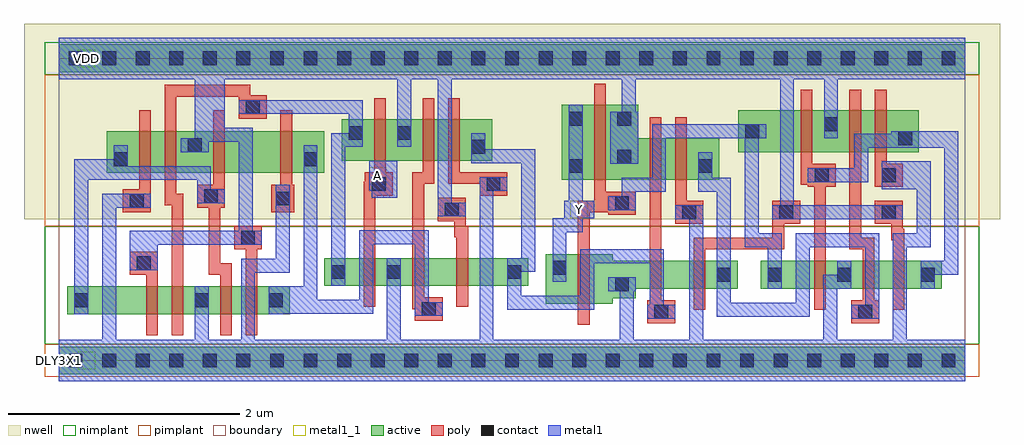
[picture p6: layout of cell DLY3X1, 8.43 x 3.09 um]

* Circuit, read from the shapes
.subckt DLY3X1 A VDD VSS Y
M1 n1 VDD n2 VSS nfet w=0.24u l=0.1u
M2 VSS n3 n1 VSS nfet w=0.24u l=0.1u
M3 n4 n2 VSS VSS nfet w=0.24u l=0.1u
M4 n5 VDD n4 VSS nfet w=0.24u l=0.1u
M5 VSS A n3 VSS nfet w=0.24u l=0.1u
M6 n6 n5 VSS VSS nfet w=0.24u l=0.1u
M7 n7 VDD n6 VSS nfet w=0.24u l=0.1u
M8 VSS n8 Y VSS nfet w=0.43u l=0.1u
M9 n9 n7 VSS VSS nfet w=0.24u l=0.1u
M10 n10 VDD n9 VSS nfet w=0.24u l=0.1u
M11 VSS n11 n8 VSS nfet w=0.24u l=0.1u
M12 n12 n10 VSS VSS nfet w=0.24u l=0.1u
M13 n11 VDD n12 VSS nfet w=0.24u l=0.1u
M14 n13 VSS n2 VDD pfet w=0.36u l=0.1u
M15 VDD n3 n13 VDD pfet w=0.36u l=0.1u
M16 n14 n2 VDD VDD pfet w=0.36u l=0.1u
M17 n5 VSS n14 VDD pfet w=0.36u l=0.1u
M18 VDD A n3 VDD pfet w=0.36u l=0.1u
M19 n15 n5 VDD VDD pfet w=0.36u l=0.1u
M20 n7 VSS n15 VDD pfet w=0.36u l=0.1u
M21 VDD n8 Y VDD pfet w=0.65u l=0.1u
M22 n16 n7 VDD VDD pfet w=0.36u l=0.1u
M23 n10 VSS n16 VDD pfet w=0.36u l=0.1u
M24 VDD n11 n8 VDD pfet w=0.36u l=0.1u
M25 n17 n10 VDD VDD pfet w=0.36u l=0.1u
M26 n11 VSS n17 VDD pfet w=0.36u l=0.1u
.ends

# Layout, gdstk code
import gdstk
lib = gdstk.Library(unit=1e-6, precision=5e-10)
def R(c, l, rs):  # rectangles x0, y0, x1, y1
    for r in rs: c.add(gdstk.rectangle(r[:2], r[2:], *l))
def A(c, l, x, y, w, h, nx, ny, dx, dy):  # array of equal rectangles
    R(c, l, [(x+i*dx, y+j*dy, x+i*dx+w, y+j*dy+h) for i in range(nx) for j in range(ny)])
active = (1, 0)
nwell = (2, 0)
poly = (3, 0)
nimplant = (4, 0)
pimplant = (5, 0)
contact = (6, 0)
metal1 = (7, 0)
metal1_1 = (7, 1)
boundary = (62, 0)

dly3x1 = lib.new_cell('DLY3X1')
R(dly3x1, active, [(0,-0.12,7.83,0.12), (0.075,0.4,1.995,0.64), (4.205,0.49,4.785,0.54), (4.205,0.54,4.985,0.62), (4.205,0.62,5.865,0.86), (6.065,0.62,7.625,0.86), (2.295,0.645,4.055,0.885), (4.205,0.86,4.785,0.92), (4.345,1.56,5.705,1.92), (0.415,1.62,2.295,1.98), (2.445,1.725,3.745,2.085), (5.87,1.8,7.43,2.16), (4.345,1.92,5.005,2.21), (0,2.49,7.83,2.73)])
R(dly3x1, nwell, [(-0.3,1.22,8.13,2.91)])
R(dly3x1, poly, [(0.755,0.22,0.855,0.74), (0.975,0.22,1.075,1.34), (1.395,0.22,1.495,0.74), (1.615,0.22,1.715,0.96), (4.485,0.31,4.585,1.28), (5.085,0.32,5.325,0.52), (6.845,0.32,7.085,0.52), (3.075,0.345,3.315,0.445), (5.485,0.44,5.585,0.96), (6.525,0.44,6.625,1.5), (7.205,0.44,7.305,1.04), (3.055,0.445,3.315,0.545), (2.635,0.465,2.735,1.425), (3.435,0.465,3.535,1.065), (5.105,0.52,5.205,2.1), (6.945,0.52,7.045,0.96), (3.055,0.545,3.155,1.525), (0.615,0.74,0.855,0.94), (1.295,0.74,1.495,0.84), (1.295,0.84,1.395,1.32), (1.515,0.96,1.755,1.16), (5.485,0.96,6.265,1.06), (6.83,0.96,7.045,1.06), (7.19,1.04,7.305,1.14), (6.165,1.06,6.265,1.18), (6.83,1.06,6.93,2.34), (3.415,1.065,3.535,1.165), (7.19,1.14,7.29,1.18), (3.415,1.165,3.515,1.205), (5.325,1.18,5.565,1.38), (6.165,1.18,6.405,1.38), (7.05,1.18,7.29,1.38), (3.275,1.205,3.515,1.405), (4.745,1.26,4.985,1.28), (0.555,1.28,0.795,1.48), (1.835,1.28,2.035,1.52), (4.485,1.28,4.985,1.38), (1.195,1.32,1.435,1.52), (0.915,1.34,1.075,1.44), (4.625,1.38,4.985,1.46), (5.325,1.38,5.425,2.1), (2.635,1.425,2.885,1.545), (3.635,1.425,3.875,1.525), (0.915,1.44,1.015,2.28), (4.625,1.46,4.725,2.39), (0.695,1.48,0.795,2.16), (6.47,1.5,6.71,1.52), (7.05,1.5,7.29,1.7), (1.335,1.52,1.435,2.16), (1.915,1.52,2.015,2.16), (6.41,1.52,6.71,1.7), (3.055,1.525,3.245,1.625), (3.365,1.525,3.875,1.625), (2.645,1.545,2.885,1.625), (2.725,1.625,2.825,2.265), (3.145,1.625,3.245,2.265), (3.365,1.625,3.465,2.265), (6.41,1.7,6.51,2.34), (7.05,1.7,7.15,2.34), (1.555,2.09,1.795,2.28), (0.915,2.28,1.795,2.29), (0.915,2.29,1.655,2.38)])
R(dly3x1, nimplant, [(-0.12,0.14,7.95,1.16), (-0.12,2.47,7.95,2.75)])
R(dly3x1, pimplant, [(-0.12,-0.14,7.95,0.14), (-0.12,1.16,7.95,2.47)])
A(dly3x1, contact, 0.085, -0.06, 0.12, 0.12, 27, 2, 0.29, 2.61)
R(dly3x1, contact, [(5.145,0.36,5.265,0.48), (6.905,0.36,7.025,0.48), (3.135,0.385,3.255,0.505), (0.135,0.46,0.255,0.58), (1.175,0.46,1.295,0.58), (1.815,0.46,1.935,0.58), (4.805,0.6,4.925,0.72), (5.685,0.68,5.805,0.8), (6.125,0.68,6.245,0.8), (6.725,0.68,6.845,0.8), (7.445,0.68,7.565,0.8), (2.355,0.705,2.475,0.825), (2.835,0.705,2.955,0.825), (3.875,0.705,3.995,0.825), (4.265,0.74,4.385,0.86), (0.675,0.78,0.795,0.9), (1.575,1,1.695,1.12), (5.385,1.22,5.505,1.34), (6.225,1.22,6.345,1.34), (7.11,1.22,7.23,1.34), (3.335,1.245,3.455,1.365), (4.805,1.3,4.925,1.42), (0.615,1.32,0.735,1.44), (1.875,1.34,1.995,1.46), (1.255,1.36,1.375,1.48), (2.705,1.465,2.825,1.585), (3.695,1.465,3.815,1.585), (6.53,1.54,6.65,1.66), (7.11,1.54,7.23,1.66), (4.405,1.62,4.525,1.74), (5.525,1.62,5.645,1.74), (0.475,1.68,0.595,1.8), (2.115,1.68,2.235,1.8), (4.825,1.7,4.945,1.82), (3.565,1.785,3.685,1.905), (1.115,1.8,1.235,1.92), (7.25,1.86,7.37,1.98), (2.505,1.905,2.625,2.025), (2.925,1.905,3.045,2.025), (5.93,1.92,6.05,2.04), (6.61,1.98,6.73,2.1), (4.405,2.03,4.525,2.15), (4.825,2.03,4.945,2.15), (1.615,2.13,1.735,2.25)])
R(dly3x1, metal1, [(0,-0.18,7.83,0.18), (0.375,0.18,0.495,1.32), (1.175,0.18,1.295,0.64), (1.575,0.18,1.695,0.76), (2.835,0.18,2.955,0.885), (3.635,0.18,3.755,1.465), (4.845,0.18,4.965,0.6), (5.445,0.18,5.565,1.22), (6.605,0.18,6.725,0.62), (7.205,0.18,7.325,0.98), (5.085,0.36,5.325,0.48), (6.845,0.36,7.085,0.48), (5.685,0.38,6.485,0.5), (3.075,0.385,3.315,0.505), (0.135,0.4,0.255,1.56), (1.815,0.4,1.935,0.405), (1.815,0.405,2.715,0.525), (3.875,0.44,4.625,0.56), (5.105,0.48,5.225,0.84), (6.965,0.48,7.085,0.98), (5.685,0.5,5.805,1.46), (6.365,0.5,6.485,0.98), (3.075,0.505,3.195,1.005), (1.815,0.525,2.235,0.64), (2.595,0.525,2.715,1.005), (3.875,0.56,3.995,0.765), (4.505,0.56,4.625,0.84), (4.745,0.6,4.985,0.72), (6.125,0.62,6.245,0.98), (6.605,0.62,6.845,0.74), (7.445,0.62,7.565,0.74), (2.115,0.64,2.235,1.86), (2.355,0.645,2.475,1.845), (4.265,0.68,4.385,1.11), (6.725,0.74,6.845,0.86), (7.445,0.74,7.77,0.86), (1.575,0.76,1.995,0.88), (3.875,0.765,4.115,0.885), (0.615,0.78,0.855,1), (4.505,0.84,5.225,0.96), (7.65,0.86,7.77,1.84), (1.875,0.88,1.995,1.52), (3.995,0.885,4.115,1.705), (5.925,0.98,6.245,1.1), (6.365,0.98,7.085,1.1), (7.205,0.98,7.53,1.1), (0.615,1,1.755,1.12), (2.595,1.005,3.195,1.125), (5.925,1.1,6.045,1.92), (7.41,1.1,7.53,1.48), (4.265,1.11,4.525,1.23), (1.555,1.12,1.675,1.89), (5.325,1.22,5.565,1.34), (6.165,1.22,7.29,1.34), (4.365,1.23,4.625,1.38), (3.275,1.245,3.515,1.365), (4.745,1.3,4.985,1.42), (0.375,1.32,0.795,1.44), (6.23,1.34,6.35,2.43), (1.195,1.36,1.435,1.48), (3.275,1.365,3.395,2.43), (4.405,1.38,4.525,2.21), (2.705,1.405,2.925,1.465), (4.865,1.42,4.985,1.46), (4.865,1.46,5.245,1.58), (5.525,1.46,5.805,1.58), (2.68,1.465,2.925,1.725), (3.635,1.465,3.875,1.585), (1.195,1.48,1.315,1.56), (7.11,1.48,7.53,1.72), (6.47,1.54,6.99,1.66), (0.135,1.56,1.315,1.68), (5.125,1.58,5.245,1.92), (5.525,1.58,5.645,1.8), (6.87,1.66,6.99,1.84), (0.135,1.68,0.595,1.74), (4.765,1.7,5.005,2.15), (3.565,1.705,4.115,1.825), (0.475,1.74,0.595,1.86), (1.055,1.8,1.295,1.89), (3.565,1.825,3.685,1.965), (6.87,1.84,7.77,1.96), (2.355,1.845,2.625,1.965), (2.925,1.845,3.045,2.43), (1.055,1.89,1.675,1.92), (1.175,1.92,1.675,2.01), (5.125,1.92,6.11,2.04), (6.61,1.92,6.73,2.43), (7.19,1.96,7.77,1.98), (2.505,1.965,2.625,2.13), (1.175,2.01,1.435,2.43), (1.555,2.13,2.625,2.25), (4.865,2.15,4.985,2.43), (0,2.43,7.83,2.79)])
R(dly3x1, metal1_1, [(0.165,-0.075,0.315,0.075), (4.42,1.23,4.57,1.38), (2.68,1.52,2.83,1.67), (0.165,2.535,0.315,2.685)])
R(dly3x1, boundary, [(0,0,7.83,2.61)])
dly3x1.add(gdstk.Label('DLY3X1', (0,0), layer=63, texttype=0))
dly3x1.add(gdstk.Label('VSS', (0.24,0), layer=7, texttype=3))
dly3x1.add(gdstk.Label('VDD', (0.24,2.61), layer=7, texttype=3))
dly3x1.add(gdstk.Label('A', (2.755,1.595), layer=7, texttype=3))
dly3x1.add(gdstk.Label('Y', (4.495,1.305), layer=7, texttype=3))

lib.write_gds('DLY3X1.gds')
